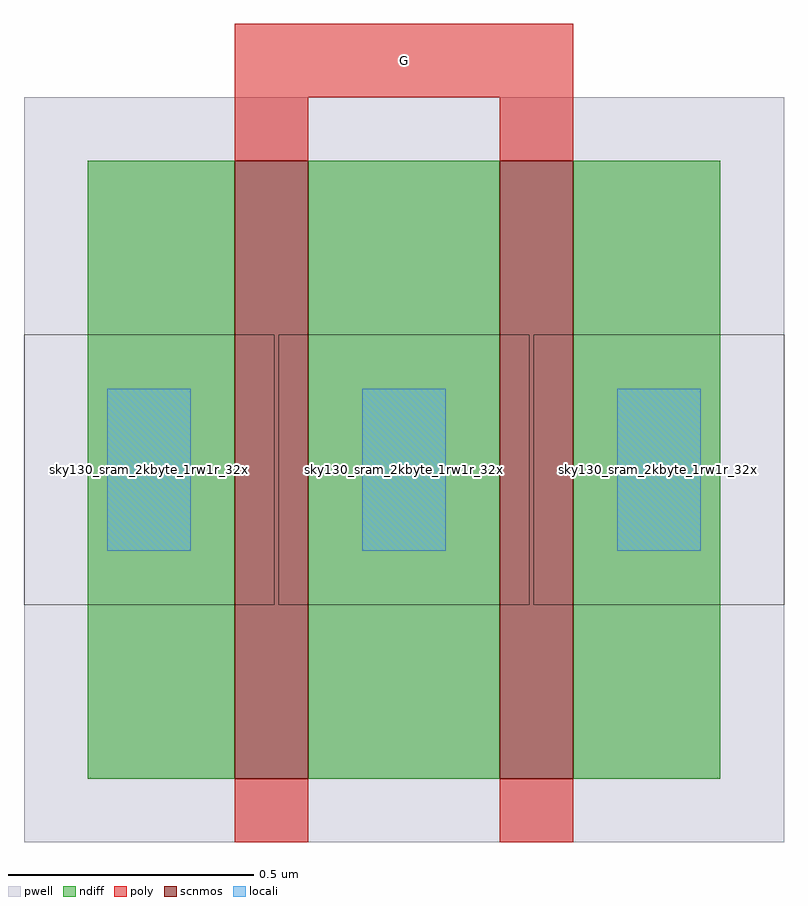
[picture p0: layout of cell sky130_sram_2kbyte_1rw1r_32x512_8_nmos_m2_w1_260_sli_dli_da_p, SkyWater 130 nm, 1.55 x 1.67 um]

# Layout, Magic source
magic
tech sky130A
magscale 1 2
<< pwell >>
rect -26 -26 284 278
<< scnmos >>
rect 60 0 90 252
rect 168 0 198 252
<< ndiff >>
rect 0 0 60 252
rect 90 0 168 252
rect 198 0 258 252
<< poly >>
rect 60 278 198 308
rect 60 252 90 278
rect 168 252 198 278
rect 60 -26 90 0
rect 168 -26 198 0
<< locali >>
rect 8 93 42 159
rect 112 93 146 159
rect 216 93 250 159
use sky130_sram_2kbyte_1rw1r_32x512_8_contact_11  sky130_sram_2kbyte_1rw1r_32x512_8_contact_11_2
transform 1 0 0 0 1 93
box -26 -22 76 88
use sky130_sram_2kbyte_1rw1r_32x512_8_contact_11  sky130_sram_2kbyte_1rw1r_32x512_8_contact_11_1
transform 1 0 104 0 1 93
box -26 -22 76 88
use sky130_sram_2kbyte_1rw1r_32x512_8_contact_11  sky130_sram_2kbyte_1rw1r_32x512_8_contact_11_0
transform 1 0 208 0 1 93
box -26 -22 76 88
<< labels >>
rlabel locali s 25 126 25 126 4 S
rlabel locali s 233 126 233 126 4 S
rlabel locali s 129 126 129 126 4 D
rlabel poly s 129 293 129 293 4 G
<< properties >>
string FIXED_BBOX -25 -26 283 308
<< end >>
